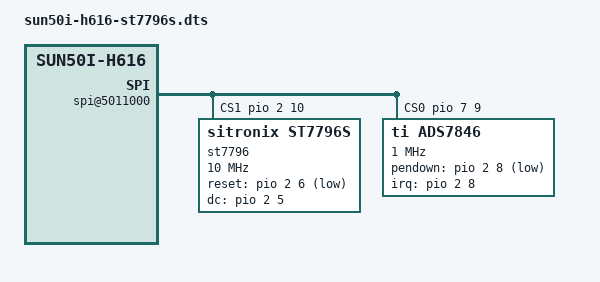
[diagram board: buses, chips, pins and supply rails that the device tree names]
/dts-v1/;
/plugin/;

/ {
    compatible = "allwinner,sun50i-h616";

    fragment@0 {
        target-path = "/soc/spi@5011000";
        __overlay__ {
            status = "okay";
            num-cs = <2>;

            cs-gpios = <&pio 7 9 0>,   /* PH9  TOUCH_CS */
                       <&pio 2 10 0>; /* PC10 TFT_CS */

            #address-cells = <1>;
            #size-cells = <0>;

            st7796: st7796s@1 {
                compatible = "sitronix,st7796s";
                reg = <1>;
                spi-max-frequency = <10000000>;
                buswidth = <8>;
                fps = <33>;
                txbuflen = <8192>;
                reset-gpios = <&pio 2 6 1>; /* PC6 */
                dc-gpios    = <&pio 2 5 0>; /* PC5 */
                rotate = <270>;
            };

            ads7846: ads7846@0 {
                compatible = "ti,ads7846";
                reg = <0>;
                spi-max-frequency = <1000000>;

                interrupt-parent = <&pio>;
                interrupts = <2 8 2>;        /* PC8 FALLING EDGE */
                pendown-gpio = <&pio 2 8 1>; /* PC8 active low */

                ti,x-min = /bits/ 16 <0>;
                ti,y-min = /bits/ 16 <0>;
                ti,x-max = /bits/ 16 <4095>;
                ti,y-max = /bits/ 16 <4095>;
                ti,pressure-min = /bits/ 16 <0>;
                ti,pressure-max = /bits/ 16 <65535>;
                ti,x-plate-ohms = /bits/ 16 <400>;
                ti,settle-delay-usec = /bits/ 16 <150>;
                ti,penirq-recheck-delay-usecs = /bits/ 16 <100>;
                ti,swap-xy = <0>;
            };
        };
    };
};
